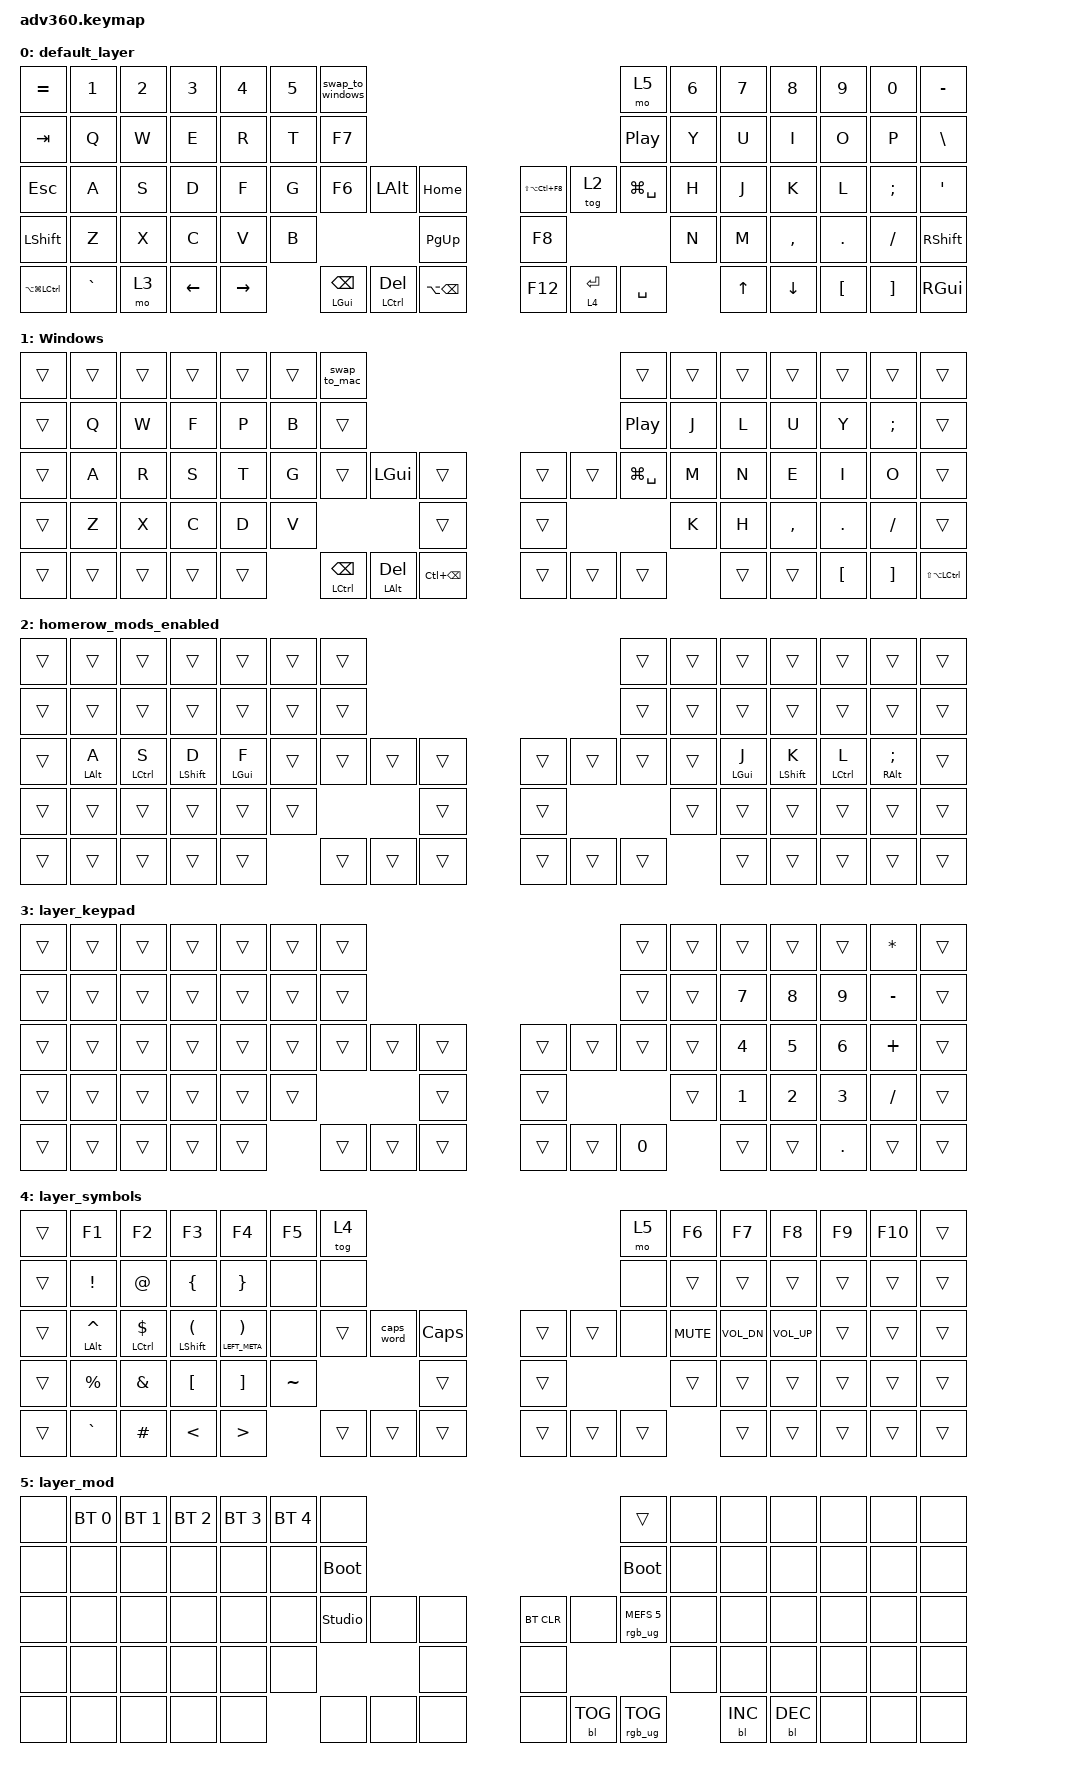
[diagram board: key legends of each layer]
#include <behaviors.dtsi>
#include <dt-bindings/zmk/keys.h>
#include <dt-bindings/zmk/bt.h>
#include <dt-bindings/zmk/rgb.h>
#include <dt-bindings/zmk/stp.h>
#include <dt-bindings/zmk/backlight.h>
#include <dt-bindings/zmk/pointing.h>

/ {
    behaviors {
        #include "macros.dtsi"
        #include "version.dtsi"

        hm: homerow_mods {
            compatible = "zmk,behavior-hold-tap";
            label = "HOMEROW_MODS";
            #binding-cells = <2>;
            tapping-term-ms = <200>;
            flavor = "tap-preferred";
            bindings = <&kp>, <&kp>;
        };

        td: td {
            compatible = "zmk,behavior-tap-dance";
            label = "Tap Dance";
            #binding-cells = <0>;
            tapping-term-ms = <200>;
            bindings = <&kp HOME>, <&caps_word>, <&kp CAPSLOCK>;
        };

        hml: Homerow_mods_left {
            compatible = "zmk,behavior-hold-tap";
            label = "HML";
            #binding-cells = <2>;
            tapping-term-ms = <280>;
            flavor = "balanced";
            bindings = <&kp>, <&trans>;

            hold-trigger-key-positions = <7 8 9 9 10 11 12 13 23 24 25 26 27 41 42 43 44 45 55 56 57 58 59 71 72 73 74 75 21 22 39 40 54 70 69>;
            hold-trigger-on-release;
            require-prior-idle-ms = <150>;
            quick-tap-ms = <175>;
        };

        hmr: homerow_mods_right {
            compatible = "zmk,behavior-hold-tap";
            label = "HMR";
            #binding-cells = <2>;
            tapping-term-ms = <280>;
            flavor = "balanced";
            bindings = <&kp>, <&trans>;

            hold-trigger-key-positions = <0 1 2 3 4 15 16 17 18 28 29 30 31 32 46 47 48 49 50 60 61 62 63 64 5 6 19 20 33 34 51 65 66 14>;
            hold-trigger-on-release;
            require-prior-idle-ms = <150>;
            quick-tap-ms = <175>;
        };
    };


    combos { compatible = "zmk,combos"; };

    macros {
        swap_to_windows: windows_swap {
            compatible = "zmk,behavior-macro";
            #binding-cells = <0>;
            bindings = <&bt BT_SEL 1 &tog 1>;
            label = "WINDOWS_SWAP";
        };

        swap_to_mac: swap_to_mac {
            compatible = "zmk,behavior-macro";
            #binding-cells = <0>;
            bindings = <&bt BT_SEL 0 &tog 1>;
            label = "SWAP_TO_MAC";
        };
    };

    keymap {
        compatible = "zmk,keymap";

        default_layer {
            bindings = <
&kp EQUAL                 &kp N1     &kp N2  &kp N3    &kp N4     &kp N5  &swap_to_windows                                                                                  &mo 5             &kp N6  &kp N7  &kp N8     &kp N9    &kp N0    &kp MINUS
&kp TAB                   &kp Q      &kp W   &kp E     &kp R      &kp T   &kp F7                                                                                            &kp C_PLAY_PAUSE  &kp Y   &kp U   &kp I      &kp O     &kp P     &kp BSLH
&kp ESC                   &kp A      &kp S   &kp D     &kp F      &kp G   &kp F6              &kp LALT              &kp HOME               &kp LS(LA(LC(F8)))  &tog 2       &kp LG(SPACE)     &kp H   &kp J   &kp K      &kp L     &kp SEMI  &kp SQT
&kp LSHFT                 &kp Z      &kp X   &kp C     &kp V      &kp B                                             &kp PAGE_UP            &kp F8                                             &kp N   &kp M   &kp COMMA  &kp DOT   &kp FSLH  &kp RSHFT
&kp LA(LG(LEFT_CONTROL))  &kp GRAVE  &mo 3   &kp LEFT  &kp RIGHT          &mt LGUI BACKSPACE  &mt LEFT_CONTROL DEL  &kp LA(BACKSPACE)      &kp F12             &lt 4 ENTER  &kp SPACE                 &kp UP  &kp DOWN   &kp LBKT  &kp RBKT  &kp RGUI
            >;
        };

        Windows {
            bindings = <
&trans  &trans  &trans  &trans  &trans  &trans  &swap_to_mac                                                              &trans            &trans  &trans  &trans     &trans    &trans    &trans
&trans  &kp Q   &kp W   &kp F   &kp P   &kp B   &trans                                                                    &kp C_PLAY_PAUSE  &kp J   &kp L   &kp U      &kp Y     &kp SEMI  &trans
&trans  &kp A   &kp R   &kp S   &kp T   &kp G   &trans               &kp LEFT_GUI  &trans                 &trans  &trans  &kp LG(SPACE)     &kp M   &kp N   &kp E      &kp I     &kp O     &trans
&trans  &kp Z   &kp X   &kp C   &kp D   &kp V                                      &trans                 &trans                            &kp K   &kp H   &kp COMMA  &kp DOT   &kp FSLH  &trans
&trans  &trans  &trans  &trans  &trans          &mt LCTRL BACKSPACE  &mt LALT DEL  &kp LC(BACKSPACE)      &trans  &trans  &trans                    &trans  &trans     &kp LBKT  &kp RBKT  &kp LS(LA(LCTRL))
            >;
        };

        homerow_mods_enabled {
            bindings = <
&trans  &trans           &trans        &trans         &trans       &trans  &trans                                      &trans  &trans  &trans       &trans        &trans        &trans               &trans
&trans  &trans           &trans        &trans         &trans       &trans  &trans                                      &trans  &trans  &trans       &trans        &trans        &trans               &trans
&trans  &hml LEFT_ALT A  &hml LCTRL S  &hml LSHIFT D  &hml LGUI F  &trans  &trans  &trans  &trans      &trans  &trans  &trans  &trans  &hmr LGUI J  &hmr LSHFT K  &hmr LCTRL L  &hmr RALT SEMICOLON  &trans
&trans  &trans           &trans        &trans         &trans       &trans                  &trans      &trans                  &trans  &trans       &trans        &trans        &trans               &trans
&trans  &trans           &trans        &trans         &trans               &trans  &trans  &trans      &trans  &trans  &trans          &trans       &trans        &trans        &trans               &trans
            >;
        };

        layer_keypad {
            bindings = <
&trans  &trans  &trans  &trans  &trans  &trans  &trans                                      &trans        &trans  &trans  &trans  &trans   &kp ASTERISK  &trans
&trans  &trans  &trans  &trans  &trans  &trans  &trans                                      &trans        &trans  &kp N7  &kp N8  &kp N9   &kp MINUS     &trans
&trans  &trans  &trans  &trans  &trans  &trans  &trans  &trans  &trans      &trans  &trans  &trans        &trans  &kp N4  &kp N5  &kp N6   &kp PLUS      &trans
&trans  &trans  &trans  &trans  &trans  &trans                  &trans      &trans                        &trans  &kp N1  &kp N2  &kp N3   &kp FSLH      &trans
&trans  &trans  &trans  &trans  &trans          &trans  &trans  &trans      &trans  &trans  &kp NUMBER_0          &trans  &trans  &kp DOT  &trans        &trans
            >;
        };

        layer_symbols {
            bindings = <
&trans  &kp F1               &kp F2             &kp F3                            &kp F4                            &kp F5     &tog 4                                                &mo 5   &kp F6      &kp F7        &kp F8           &kp F9  &kp F10  &trans
&trans  &kp EXCLAMATION      &kp AT             &kp LEFT_BRACE                    &kp RIGHT_BRACE                   &none      &none                                                 &none   &trans      &trans        &trans           &trans  &trans   &trans
&trans  &hml LEFT_ALT CARET  &hml LCTRL DOLLAR  &hml LEFT_SHIFT LEFT_PARENTHESIS  &hml LEFT_META RIGHT_PARENTHESIS  &none      &trans  &caps_word  &kp CAPSLOCK      &trans  &trans  &none   &kp C_MUTE  &kp C_VOL_DN  &kp C_VOLUME_UP  &trans  &trans   &trans
&trans  &kp PERCENT          &kp AMPERSAND      &kp LEFT_BRACKET                  &kp RIGHT_BRACKET                 &kp TILDE                      &trans            &trans                  &trans      &trans        &trans           &trans  &trans   &trans
&trans  &kp GRAVE            &kp HASH           &kp LESS_THAN                     &kp GREATER_THAN                             &trans  &trans      &trans            &trans  &trans  &trans              &trans        &trans           &trans  &trans   &trans
            >;
        };

        layer_mod {
            bindings = <
&none  &bt BT_SEL 0  &bt BT_SEL 1  &bt BT_SEL 2  &bt BT_SEL 3  &bt BT_SEL 4  &none                                                     &trans                  &none  &none       &none       &none  &none  &none
&none  &none         &none         &none         &none         &none         &bootloader                                               &bootloader             &none  &none       &none       &none  &none  &none
&none  &none         &none         &none         &none         &none         &studio_unlock  &none  &none      &bt BT_CLR  &none       &rgb_ug RGB_MEFS_CMD 5  &none  &none       &none       &none  &none  &none
&none  &none         &none         &none         &none         &none                                &none      &none                                           &none  &none       &none       &none  &none  &none
&none  &none         &none         &none         &none                       &none           &none  &none      &none       &bl BL_TOG  &rgb_ug RGB_TOG                &bl BL_INC  &bl BL_DEC  &none  &none  &none
            >;
        };

        extra1 { 
          display-name = "Red";    
          status = "reserved";
        };

        extra2 { 
          display-name = "Purple";    
          status = "reserved";
        };

        extra3 { 
          display-name = "Cyan";    
          status = "reserved";
        };

        extra4 { 
          display-name = "Yellow";    
          status = "reserved";
        };
    };
};
